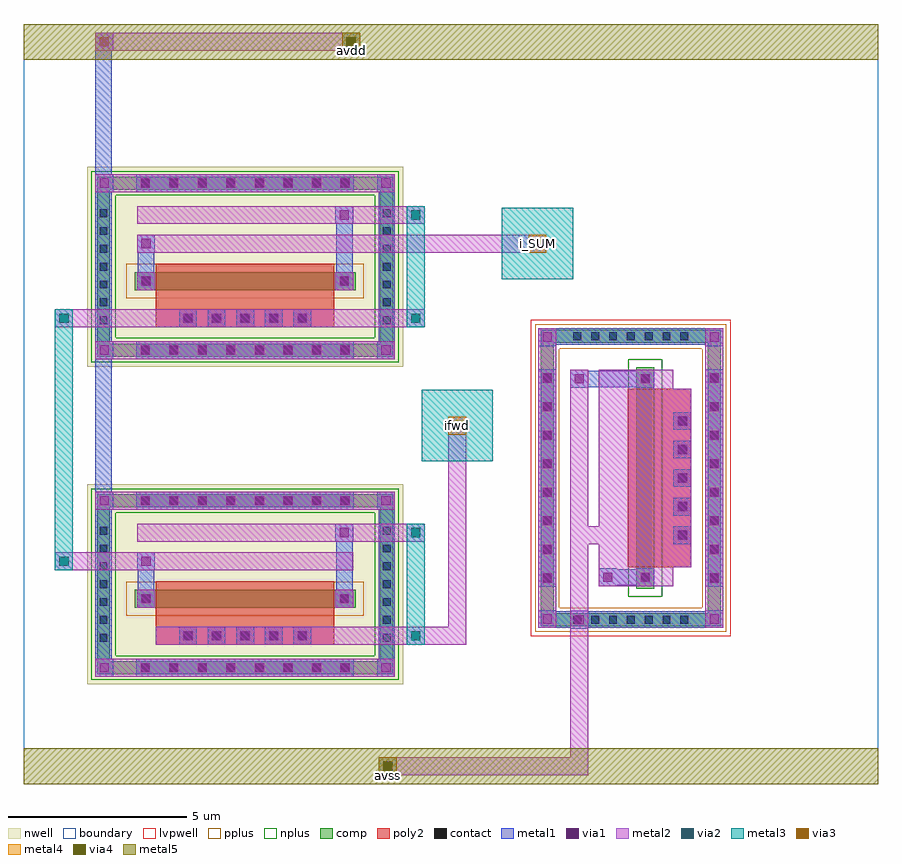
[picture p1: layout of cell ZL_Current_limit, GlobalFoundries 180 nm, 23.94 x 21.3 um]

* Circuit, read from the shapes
.subckt ZL_Current_limit avdd avss i_SUM ifwd
XM1 avss avss avss avss nfet_03v3 w=0.5u l=5u
XM2 ifwd ifwd n1 avdd pfet_03v3 w=0.5u l=5u
XM3 n1 n1 i_SUM avdd pfet_03v3 w=0.5u l=5u
.ends

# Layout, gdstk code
from math import pi, radians
import gdstk
lib = gdstk.Library(unit=1e-6, precision=1e-09)
def R(c, l, rs):  # rectangles x0, y0, x1, y1
    for r in rs: c.add(gdstk.rectangle(r[:2], r[2:], *l))
def A(c, l, x, y, w, h, nx, ny, dx, dy):  # array of equal rectangles
    R(c, l, [(x+i*dx, y+j*dy, x+i*dx+w, y+j*dy+h) for i in range(nx) for j in range(ny)])
def P(c, l, *ps):  # polygons
    for p in ps: c.add(gdstk.Polygon(p, *l))
boundary = (0, 0)
nwell = (21, 0)
comp = (22, 0)
poly2 = (30, 0)
pplus = (31, 0)
nplus = (32, 0)
contact = (33, 0)
metal1 = (34, 0)
via1 = (35, 0)
metal2 = (36, 0)
via2 = (38, 0)
via3 = (40, 0)
via4 = (41, 0)
metal3 = (42, 0)
metal4 = (46, 0)
metal5 = (81, 0)
lvpwell = (204, 0)

zl_compass_8f91b1b8_2 = lib.new_cell('ZL_compass_8f91b1b8$2')
R(zl_compass_8f91b1b8_2, metal5, [(-0.25,-0.25,0.25,0.25)])

zl_rectangle_8f91b1b8_1 = lib.new_cell('ZL_rectangle_8f91b1b8$1')
zl_rectangle_8f91b1b8_1.add(gdstk.Reference(zl_compass_8f91b1b8_2, (0.25,0.25)))

zl_compass_8f91b1b8_1 = lib.new_cell('ZL_compass_8f91b1b8$1')
R(zl_compass_8f91b1b8_1, metal5, [(-0.25,-0.25,0.25,0.25)])

zl_rectangle_8f91b1b8 = lib.new_cell('ZL_rectangle_8f91b1b8')
zl_rectangle_8f91b1b8.add(gdstk.Reference(zl_compass_8f91b1b8_1, (0.25,0.25)))

zl_straight_route_f73d6f = lib.new_cell('ZL_straight_route_f73d6fe0')
R(zl_straight_route_f73d6f, metal2, [(9.23,14.895,14.145,15.395)])

zl_compass_layer42__0_si = lib.new_cell('ZL_compass_layer42__0_size2__2$1$1')
R(zl_compass_layer42__0_si, metal3, [(-1,-1,1,1)])

zl_rectangle_layer42__0_ = lib.new_cell('ZL_rectangle_layer42__0_size2__2$1$1')
zl_rectangle_layer42__0_.add(gdstk.Reference(zl_compass_layer42__0_si, (1,1)))

c_zl_compass_layer42__0_si = lib.new_cell('ZL_compass_layer42__0_size2__2$9')
R(c_zl_compass_layer42__0_si, metal3, [(-1,-1,1,1)])

c_zl_rectangle_layer42__0_ = lib.new_cell('ZL_rectangle_layer42__0_size2__2$9')
c_zl_rectangle_layer42__0_.add(gdstk.Reference(c_zl_compass_layer42__0_si, (1,1)))

zl_l_route_64e08330 = lib.new_cell('ZL_L_route_64e08330')
R(zl_l_route_64e08330, metal2, [(3.75,-14.25,9.615,-13.75), (9.115,-14.25,9.615,-2.895)])

zl_l_route_0775ef16 = lib.new_cell('ZL_L_route_0775ef16')
R(zl_l_route_0775ef16, metal1, [(-4.2,2.16,-3.74,6.55), (-4.2,6.05,-3.7,6.55), (-4.2,6.05,-3.7,6.55)])
R(zl_l_route_0775ef16, via1, [(-4.08,6.17,-3.82,6.43)])
R(zl_l_route_0775ef16, metal2, [(-4.2,6.05,2.72,6.55), (-4.2,6.05,-3.7,6.55), (-4.2,6.05,-3.7,6.55)])

zl_via_stack_7fdd5994_1 = lib.new_cell('ZL_via_stack_7fdd5994$1')
R(zl_via_stack_7fdd5994_1, metal2, [(-0.25,-0.25,0.25,0.25)])
R(zl_via_stack_7fdd5994_1, via2, [(-0.13,-0.13,0.13,0.13)])
R(zl_via_stack_7fdd5994_1, via3, [(-0.13,-0.13,0.13,0.13)])
R(zl_via_stack_7fdd5994_1, via4, [(-0.13,-0.13,0.13,0.13)])
R(zl_via_stack_7fdd5994_1, metal3, [(-0.25,-0.25,0.25,0.25)])
R(zl_via_stack_7fdd5994_1, metal4, [(-0.25,-0.25,0.25,0.25)])
R(zl_via_stack_7fdd5994_1, metal5, [(-0.25,-0.25,0.25,0.25)])

zl_compass_211e5a5b_1 = lib.new_cell('ZL_compass_211e5a5b$1')
R(zl_compass_211e5a5b_1, metal5, [(-11.97,-0.5,11.97,0.5)])

zl_rectangle_211e5a5b_1 = lib.new_cell('ZL_rectangle_211e5a5b$1')
zl_rectangle_211e5a5b_1.add(gdstk.Reference(zl_compass_211e5a5b_1, (11.97,0.5)))

zl_compass_211e5a5b = lib.new_cell('ZL_compass_211e5a5b')
R(zl_compass_211e5a5b, metal5, [(-11.97,-0.5,11.97,0.5)])

zl_rectangle_211e5a5b = lib.new_cell('ZL_rectangle_211e5a5b')
zl_rectangle_211e5a5b.add(gdstk.Reference(zl_compass_211e5a5b, (11.97,0.5)))

zl_c_route_d216f0a1 = lib.new_cell('ZL_c_route_d216f0a1')
R(zl_c_route_d216f0a1, metal2, [(2.5,-10.595,5.03,-10.095), (4.53,-10.595,5.03,-10.095), (3.03,-7.705,5.03,-7.205), (4.53,-7.705,5.03,-7.205)])
R(zl_c_route_d216f0a1, via2, [(4.65,-10.475,4.91,-10.215), (4.65,-7.585,4.91,-7.325)])
R(zl_c_route_d216f0a1, metal3, [(4.53,-10.595,5.03,-10.095), (4.53,-10.595,5.03,-10.095), (4.53,-10.595,5.03,-7.205), (4.53,-7.705,5.03,-7.205), (4.53,-7.705,5.03,-7.205)])
P(zl_c_route_d216f0a1, metal3, [(5.03,-10.595),(5.03,-10.095),(5.03,-10.095),(5.03,-10.595)],
  [(5.03,-7.705),(5.03,-7.205),(5.03,-7.205),(5.03,-7.705)])

zl_straight_route_b6b944 = lib.new_cell('ZL_straight_route_b6b944db')
R(zl_straight_route_b6b944, metal1, [(9.115,-10.145,9.615,-9.645)])
R(zl_straight_route_b6b944, via1, [(9.235,-10.025,9.495,-9.765)])
R(zl_straight_route_b6b944, metal2, [(9.115,-10.145,9.615,-9.645), (9.115,-9.895,9.615,-2.895)])

zl_straight_route_946b62 = lib.new_cell('ZL_straight_route_946b62ad')
R(zl_straight_route_946b62, metal2, [(9.115,-7.775,12.505,-7.275)])

zl_straight_route_ecd455 = lib.new_cell('ZL_straight_route_ecd45504')
R(zl_straight_route_ecd455, metal2, [(10.415,-8.955,12.005,-2.895)])

zl_l_route_e9264af4 = lib.new_cell('ZL_L_route_e9264af4')
R(zl_l_route_e9264af4, metal2, [(2.5,-10.595,6.195,-10.095), (5.695,-10.595,6.195,-4.705)])

zl_c_route_4b6a6f06 = lib.new_cell('ZL_c_route_4b6a6f06')
R(zl_c_route_4b6a6f06, metal2, [(2.5,-1.695,5.03,-1.195), (4.53,-1.695,5.03,-1.195), (3.03,1.195,5.03,1.695), (4.53,1.195,5.03,1.695)])
R(zl_c_route_4b6a6f06, via2, [(4.65,-1.575,4.91,-1.315), (4.65,1.315,4.91,1.575)])
R(zl_c_route_4b6a6f06, metal3, [(4.53,-1.695,5.03,-1.195), (4.53,-1.695,5.03,-1.195), (4.53,-1.695,5.03,1.695), (4.53,1.195,5.03,1.695), (4.53,1.195,5.03,1.695)])
P(zl_c_route_4b6a6f06, metal3, [(5.03,-1.695),(5.03,-1.195),(5.03,-1.195),(5.03,-1.695)],
  [(5.03,1.195),(5.03,1.695),(5.03,1.695),(5.03,1.195)])

zl_c_route_bedf7dd0 = lib.new_cell('ZL_c_route_bedf7dd0')
R(zl_c_route_bedf7dd0, metal2, [(-5.33,-8.505,-3.03,-8.005), (-5.33,-8.505,-4.83,-8.005), (-5.33,-1.695,-4.83,-1.195), (-5.33,-1.695,-2.5,-1.195)])
R(zl_c_route_bedf7dd0, via2, [(-5.21,-8.385,-4.95,-8.125), (-5.21,-1.575,-4.95,-1.315)])
R(zl_c_route_bedf7dd0, metal3, [(-5.33,-8.505,-4.83,-8.005), (-5.33,-8.505,-4.83,-8.005), (-5.33,-8.505,-4.83,-1.195), (-5.33,-1.695,-4.83,-1.195), (-5.33,-1.695,-4.83,-1.195)])
P(zl_c_route_bedf7dd0, metal3, [(-4.83,-8.505),(-4.83,-8.005),(-4.83,-8.005),(-4.83,-8.505)],
  [(-4.83,-1.695),(-4.83,-1.195),(-4.83,-1.195),(-4.83,-1.695)])

zl_straight_route_b402ec = lib.new_cell('ZL_straight_route_b402ec04')
R(zl_straight_route_b402ec, metal1, [(-4.2,-6.74,-3.74,-2.16)])

zl_via_stack_d059dced = lib.new_cell('ZL_via_stack_d059dced')
R(zl_via_stack_d059dced, metal2, [(-0.25,-0.25,0.25,0.25)])
R(zl_via_stack_d059dced, via2, [(-0.13,-0.13,0.13,0.13)])
R(zl_via_stack_d059dced, via3, [(-0.13,-0.13,0.13,0.13)])
R(zl_via_stack_d059dced, metal3, [(-0.25,-0.25,0.25,0.25)])
R(zl_via_stack_d059dced, metal4, [(-0.25,-0.25,0.25,0.25)])

zl_m1_1 = lib.new_cell('ZL_M1$1')
A(zl_m1_1, comp, -2.98, -2.52, 0.36, 0.36, 8, 2, 0.8, 4.68)
A(zl_m1_1, comp, -4.15, -1.68, 0.36, 0.36, 1, 7, 0, 0.5)
A(zl_m1_1, comp, 3.79, -1.68, 0.36, 0.36, 1, 7, 0, 0.5)
R(zl_m1_1, comp, [(-2.98,-2.52,2.98,-2.16), (-4.15,-1.68,-3.79,1.68), (3.79,-1.68,4.15,1.68), (-3.1,-0.655,3.1,-0.155), (-2.98,2.16,2.98,2.52)])
P(zl_m1_1, comp, [(-4.15,-2.52),(-4.15,-2.16),(3.79,-2.16),(3.79,2.16),(-3.79,2.16),(-3.79,-2.16),(-4.15,-2.16),(-4.15,2.52),(4.15,2.52),(4.15,-2.52)])
A(zl_m1_1, poly2, -1.78, -1.625, 0.36, 0.36, 5, 1, 0.8, 0)
R(zl_m1_1, poly2, [(-2.5,-1.695,2.5,-1.195), (-2.5,-1.195,2.5,-0.895), (-2.5,-0.895,2.5,0.085)])
P(zl_m1_1, pplus, [(-4.31,-2.68),(-4.31,-2),(3.63,-2),(3.63,2),(-3.63,2),(-3.63,-2),(-4.31,-2),(-4.31,2.68),(4.31,2.68),(4.31,-2.68)])
R(zl_m1_1, nplus, [(-3.33,-0.885,3.33,0.075)])
A(zl_m1_1, contact, -2.91, -2.45, 0.22, 0.22, 8, 2, 0.8, 4.68)
A(zl_m1_1, contact, -4.08, -1.61, 0.22, 0.22, 1, 7, 0, 0.5)
A(zl_m1_1, contact, 3.86, -1.61, 0.22, 0.22, 1, 7, 0, 0.5)
A(zl_m1_1, contact, -1.71, -1.555, 0.22, 0.22, 5, 1, 0.8, 0)
R(zl_m1_1, contact, [(-2.89,-0.515,-2.67,-0.295), (2.67,-0.515,2.89,-0.295)])
A(zl_m1_1, metal1, -3.05, -2.59, 0.5, 0.5, 8, 2, 0.8, 4.68)
A(zl_m1_1, metal1, -4.2, -1.73, 0.46, 0.46, 1, 7, 0, 0.5)
A(zl_m1_1, metal1, 3.74, -1.73, 0.46, 0.46, 1, 7, 0, 0.5)
A(zl_m1_1, metal1, -1.85, -1.695, 0.5, 0.5, 5, 1, 0.8, 0)
R(zl_m1_1, metal1, [(-4.2,-2.59,-3.7,-2.09), (-4.2,-2.59,-3.7,-2.09), (-4.2,-2.59,-3.74,-2.16), (-3.05,-2.59,3.05,-2.09), (3.7,-2.59,4.2,-2.09), (3.7,-2.59,4.2,-2.09), (3.74,-2.59,4.2,-2.16), (-4.2,-2.16,-3.74,2.16), (3.74,-2.16,4.2,2.16), (-3.03,-0.655,-2.53,-0.155), (-3.03,-0.655,-2.53,-0.155), (-3.01,-0.655,-2.55,-0.155), (2.53,-0.655,3.03,-0.155), (2.53,-0.655,3.03,-0.155), (2.55,-0.655,3.01,-0.155), (-3.01,-0.635,-2.55,-0.175), (2.55,-0.635,3.01,-0.175), (-3.01,-0.155,-2.55,0.895), (2.55,-0.155,3.01,1.695), (-3.03,0.395,-2.53,0.895), (2.53,1.195,3.03,1.695), (-4.2,2.09,-3.7,2.59), (-4.2,2.09,-3.7,2.59), (-3.05,2.09,3.05,2.59), (3.7,2.09,4.2,2.59), (3.7,2.09,4.2,2.59), (-4.2,2.16,-3.74,2.59), (3.74,2.16,4.2,2.59)])
A(zl_m1_1, via1, -2.93, -2.47, 0.26, 0.26, 8, 2, 0.8, 4.68)
A(zl_m1_1, via1, -1.73, -1.575, 0.26, 0.26, 5, 1, 0.8, 0)
R(zl_m1_1, via1, [(-4.08,-2.47,-3.82,-2.21), (3.82,-2.47,4.08,-2.21), (-2.91,-0.535,-2.65,-0.275), (2.65,-0.535,2.91,-0.275), (-2.91,0.515,-2.65,0.775), (2.65,1.315,2.91,1.575), (-4.08,2.21,-3.82,2.47), (3.82,2.21,4.08,2.47)])
A(zl_m1_1, metal2, -3.05, -2.59, 0.5, 0.5, 8, 2, 0.8, 4.68)
A(zl_m1_1, metal2, -1.85, -1.695, 0.5, 0.5, 5, 1, 0.8, 0)
R(zl_m1_1, metal2, [(-4.2,-2.59,-3.7,-2.09), (-4.2,-2.59,-3.7,-2.09), (-4.2,-2.59,-3.79,-2.09), (-3.79,-2.59,3.79,-2.09), (3.7,-2.59,4.2,-2.09), (3.7,-2.59,4.2,-2.09), (3.79,-2.59,4.2,-2.09), (-2.5,-1.695,2.5,-1.195), (-3.03,-0.655,-2.53,-0.155), (-3.03,-0.655,-2.53,-0.155), (2.53,-0.655,3.03,-0.155), (2.53,-0.655,3.03,-0.155), (-3.03,0.395,-2.53,0.895), (-3.03,0.395,3.03,0.895), (-3.03,1.195,3.03,1.695), (2.53,1.195,3.03,1.695), (-4.2,2.09,-3.7,2.59), (-4.2,2.09,-3.7,2.59), (-4.2,2.09,-3.79,2.59), (-3.79,2.09,3.79,2.59), (3.7,2.09,4.2,2.59), (3.7,2.09,4.2,2.59), (3.79,2.09,4.2,2.59)])
R(zl_m1_1, lvpwell, [(-4.43,-2.8,4.43,2.8)])

zl_m1 = lib.new_cell('ZL_M1')
R(zl_m1, nwell, [(-4.43,-2.8,4.43,2.8), (-4.27,-2.64,4.27,2.64)])
A(zl_m1, comp, -2.98, -2.52, 0.36, 0.36, 8, 2, 0.8, 4.68)
A(zl_m1, comp, -4.15, -1.68, 0.36, 0.36, 1, 7, 0, 0.5)
A(zl_m1, comp, 3.79, -1.68, 0.36, 0.36, 1, 7, 0, 0.5)
R(zl_m1, comp, [(-2.98,-2.52,2.98,-2.16), (-4.15,-1.68,-3.79,1.68), (3.79,-1.68,4.15,1.68), (-3.1,-0.655,3.1,-0.155), (-2.98,2.16,2.98,2.52)])
P(zl_m1, comp, [(-4.15,-2.52),(-4.15,-2.16),(3.79,-2.16),(3.79,2.16),(-3.79,2.16),(-3.79,-2.16),(-4.15,-2.16),(-4.15,2.52),(4.15,2.52),(4.15,-2.52)])
A(zl_m1, poly2, -1.78, -1.625, 0.36, 0.36, 5, 1, 0.8, 0)
R(zl_m1, poly2, [(-2.5,-1.695,2.5,-1.195), (-2.5,-1.195,2.5,-0.895), (-2.5,-0.895,2.5,0.085)])
R(zl_m1, pplus, [(-3.33,-0.885,3.33,0.075)])
P(zl_m1, nplus, [(-4.31,-2.68),(-4.31,-2),(3.63,-2),(3.63,2),(-3.63,2),(-3.63,-2),(-4.31,-2),(-4.31,2.68),(4.31,2.68),(4.31,-2.68)])
A(zl_m1, contact, -2.91, -2.45, 0.22, 0.22, 8, 2, 0.8, 4.68)
A(zl_m1, contact, -4.08, -1.61, 0.22, 0.22, 1, 7, 0, 0.5)
A(zl_m1, contact, 3.86, -1.61, 0.22, 0.22, 1, 7, 0, 0.5)
A(zl_m1, contact, -1.71, -1.555, 0.22, 0.22, 5, 1, 0.8, 0)
R(zl_m1, contact, [(-2.89,-0.515,-2.67,-0.295), (2.67,-0.515,2.89,-0.295)])
A(zl_m1, metal1, -3.05, -2.59, 0.5, 0.5, 8, 2, 0.8, 4.68)
A(zl_m1, metal1, -4.2, -1.73, 0.46, 0.46, 1, 7, 0, 0.5)
A(zl_m1, metal1, 3.74, -1.73, 0.46, 0.46, 1, 7, 0, 0.5)
A(zl_m1, metal1, -1.85, -1.695, 0.5, 0.5, 5, 1, 0.8, 0)
R(zl_m1, metal1, [(-4.2,-2.59,-3.7,-2.09), (-4.2,-2.59,-3.7,-2.09), (-4.2,-2.59,-3.74,-2.16), (-3.05,-2.59,3.05,-2.09), (3.7,-2.59,4.2,-2.09), (3.7,-2.59,4.2,-2.09), (3.74,-2.59,4.2,-2.16), (-4.2,-2.16,-3.74,2.16), (3.74,-2.16,4.2,2.16), (-3.03,-0.655,-2.53,-0.155), (-3.03,-0.655,-2.53,-0.155), (-3.01,-0.655,-2.55,-0.155), (2.53,-0.655,3.03,-0.155), (2.53,-0.655,3.03,-0.155), (2.55,-0.655,3.01,-0.155), (-3.01,-0.635,-2.55,-0.175), (2.55,-0.635,3.01,-0.175), (-3.01,-0.155,-2.55,0.895), (2.55,-0.155,3.01,1.695), (-3.03,0.395,-2.53,0.895), (2.53,1.195,3.03,1.695), (-4.2,2.09,-3.7,2.59), (-4.2,2.09,-3.7,2.59), (-3.05,2.09,3.05,2.59), (3.7,2.09,4.2,2.59), (3.7,2.09,4.2,2.59), (-4.2,2.16,-3.74,2.59), (3.74,2.16,4.2,2.59)])
A(zl_m1, via1, -2.93, -2.47, 0.26, 0.26, 8, 2, 0.8, 4.68)
A(zl_m1, via1, -1.73, -1.575, 0.26, 0.26, 5, 1, 0.8, 0)
R(zl_m1, via1, [(-4.08,-2.47,-3.82,-2.21), (3.82,-2.47,4.08,-2.21), (-2.91,-0.535,-2.65,-0.275), (2.65,-0.535,2.91,-0.275), (-2.91,0.515,-2.65,0.775), (2.65,1.315,2.91,1.575), (-4.08,2.21,-3.82,2.47), (3.82,2.21,4.08,2.47)])
A(zl_m1, metal2, -3.05, -2.59, 0.5, 0.5, 8, 2, 0.8, 4.68)
A(zl_m1, metal2, -1.85, -1.695, 0.5, 0.5, 5, 1, 0.8, 0)
R(zl_m1, metal2, [(-4.2,-2.59,-3.7,-2.09), (-4.2,-2.59,-3.7,-2.09), (-4.2,-2.59,-3.79,-2.09), (-3.79,-2.59,3.79,-2.09), (3.7,-2.59,4.2,-2.09), (3.7,-2.59,4.2,-2.09), (3.79,-2.59,4.2,-2.09), (-2.5,-1.695,2.5,-1.195), (-3.03,-0.655,-2.53,-0.155), (-3.03,-0.655,-2.53,-0.155), (2.53,-0.655,3.03,-0.155), (2.53,-0.655,3.03,-0.155), (-3.03,0.395,-2.53,0.895), (-3.03,0.395,3.03,0.895), (-3.03,1.195,3.03,1.695), (2.53,1.195,3.03,1.695), (-4.2,2.09,-3.7,2.59), (-4.2,2.09,-3.7,2.59), (-4.2,2.09,-3.79,2.59), (-3.79,2.09,3.79,2.59), (3.7,2.09,4.2,2.59), (3.7,2.09,4.2,2.59), (3.79,2.09,4.2,2.59)])

zl_m0 = lib.new_cell('ZL_M0')
R(zl_m0, nwell, [(-4.43,-2.8,4.43,2.8), (-4.27,-2.64,4.27,2.64)])
A(zl_m0, comp, -2.98, -2.52, 0.36, 0.36, 8, 2, 0.8, 4.68)
A(zl_m0, comp, -4.15, -1.68, 0.36, 0.36, 1, 7, 0, 0.5)
A(zl_m0, comp, 3.79, -1.68, 0.36, 0.36, 1, 7, 0, 0.5)
R(zl_m0, comp, [(-2.98,-2.52,2.98,-2.16), (-4.15,-1.68,-3.79,1.68), (3.79,-1.68,4.15,1.68), (-3.1,-0.655,3.1,-0.155), (-2.98,2.16,2.98,2.52)])
P(zl_m0, comp, [(-4.15,-2.52),(-4.15,-2.16),(3.79,-2.16),(3.79,2.16),(-3.79,2.16),(-3.79,-2.16),(-4.15,-2.16),(-4.15,2.52),(4.15,2.52),(4.15,-2.52)])
A(zl_m0, poly2, -1.78, -1.625, 0.36, 0.36, 5, 1, 0.8, 0)
R(zl_m0, poly2, [(-2.5,-1.695,2.5,-1.195), (-2.5,-1.195,2.5,-0.895), (-2.5,-0.895,2.5,0.085)])
R(zl_m0, pplus, [(-3.33,-0.885,3.33,0.075)])
P(zl_m0, nplus, [(-4.31,-2.68),(-4.31,-2),(3.63,-2),(3.63,2),(-3.63,2),(-3.63,-2),(-4.31,-2),(-4.31,2.68),(4.31,2.68),(4.31,-2.68)])
A(zl_m0, contact, -2.91, -2.45, 0.22, 0.22, 8, 2, 0.8, 4.68)
A(zl_m0, contact, -4.08, -1.61, 0.22, 0.22, 1, 7, 0, 0.5)
A(zl_m0, contact, 3.86, -1.61, 0.22, 0.22, 1, 7, 0, 0.5)
A(zl_m0, contact, -1.71, -1.555, 0.22, 0.22, 5, 1, 0.8, 0)
R(zl_m0, contact, [(-2.89,-0.515,-2.67,-0.295), (2.67,-0.515,2.89,-0.295)])
A(zl_m0, metal1, -3.05, -2.59, 0.5, 0.5, 8, 2, 0.8, 4.68)
A(zl_m0, metal1, -4.2, -1.73, 0.46, 0.46, 1, 7, 0, 0.5)
A(zl_m0, metal1, 3.74, -1.73, 0.46, 0.46, 1, 7, 0, 0.5)
A(zl_m0, metal1, -1.85, -1.695, 0.5, 0.5, 5, 1, 0.8, 0)
R(zl_m0, metal1, [(-4.2,-2.59,-3.7,-2.09), (-4.2,-2.59,-3.7,-2.09), (-4.2,-2.59,-3.74,-2.16), (-3.05,-2.59,3.05,-2.09), (3.7,-2.59,4.2,-2.09), (3.7,-2.59,4.2,-2.09), (3.74,-2.59,4.2,-2.16), (-4.2,-2.16,-3.74,2.16), (3.74,-2.16,4.2,2.16), (-3.03,-0.655,-2.53,-0.155), (-3.03,-0.655,-2.53,-0.155), (-3.01,-0.655,-2.55,-0.155), (2.53,-0.655,3.03,-0.155), (2.53,-0.655,3.03,-0.155), (2.55,-0.655,3.01,-0.155), (-3.01,-0.635,-2.55,-0.175), (2.55,-0.635,3.01,-0.175), (-3.01,-0.155,-2.55,0.895), (2.55,-0.155,3.01,1.695), (-3.03,0.395,-2.53,0.895), (2.53,1.195,3.03,1.695), (-4.2,2.09,-3.7,2.59), (-4.2,2.09,-3.7,2.59), (-3.05,2.09,3.05,2.59), (3.7,2.09,4.2,2.59), (3.7,2.09,4.2,2.59), (-4.2,2.16,-3.74,2.59), (3.74,2.16,4.2,2.59)])
A(zl_m0, via1, -2.93, -2.47, 0.26, 0.26, 8, 2, 0.8, 4.68)
A(zl_m0, via1, -1.73, -1.575, 0.26, 0.26, 5, 1, 0.8, 0)
R(zl_m0, via1, [(-4.08,-2.47,-3.82,-2.21), (3.82,-2.47,4.08,-2.21), (-2.91,-0.535,-2.65,-0.275), (2.65,-0.535,2.91,-0.275), (-2.91,0.515,-2.65,0.775), (2.65,1.315,2.91,1.575), (-4.08,2.21,-3.82,2.47), (3.82,2.21,4.08,2.47)])
A(zl_m0, metal2, -3.05, -2.59, 0.5, 0.5, 8, 2, 0.8, 4.68)
A(zl_m0, metal2, -1.85, -1.695, 0.5, 0.5, 5, 1, 0.8, 0)
R(zl_m0, metal2, [(-4.2,-2.59,-3.7,-2.09), (-4.2,-2.59,-3.7,-2.09), (-4.2,-2.59,-3.79,-2.09), (-3.79,-2.59,3.79,-2.09), (3.7,-2.59,4.2,-2.09), (3.7,-2.59,4.2,-2.09), (3.79,-2.59,4.2,-2.09), (-2.5,-1.695,2.5,-1.195), (-3.03,-0.655,-2.53,-0.155), (-3.03,-0.655,-2.53,-0.155), (2.53,-0.655,3.03,-0.155), (2.53,-0.655,3.03,-0.155), (-3.03,0.395,-2.53,0.895), (-3.03,0.395,3.03,0.895), (-3.03,1.195,3.03,1.695), (2.53,1.195,3.03,1.695), (-4.2,2.09,-3.7,2.59), (-4.2,2.09,-3.7,2.59), (-4.2,2.09,-3.79,2.59), (-3.79,2.09,3.79,2.59), (3.7,2.09,4.2,2.59), (3.7,2.09,4.2,2.59), (3.79,2.09,4.2,2.59)])

zl_current_limit = lib.new_cell('ZL_Current_limit')
R(zl_current_limit, boundary, [(0,0,23.94,21.3)])
zl_current_limit.add(gdstk.Reference(zl_rectangle_8f91b1b8_1, (10.2,0.25)))
zl_current_limit.add(gdstk.Reference(zl_rectangle_8f91b1b8, (9.17,20.55)))
zl_current_limit.add(gdstk.Reference(zl_straight_route_f73d6f, (0,0)))
zl_current_limit.add(gdstk.Reference(zl_rectangle_layer42__0_, (11.145,9.045)))
zl_current_limit.add(gdstk.Reference(c_zl_rectangle_layer42__0_, (13.395,14.145)))
zl_current_limit.add(gdstk.Reference(zl_l_route_64e08330, (6.2,14.5)))
zl_current_limit.add(gdstk.Reference(zl_l_route_0775ef16, (6.2,14.5)))
zl_current_limit.add(gdstk.Reference(zl_via_stack_7fdd5994_1, (10.2,0.5)))
zl_current_limit.add(gdstk.Reference(zl_via_stack_7fdd5994_1, (9.17,20.8)))
zl_current_limit.add(gdstk.Reference(zl_rectangle_211e5a5b_1, (0,0)))
zl_current_limit.add(gdstk.Reference(zl_rectangle_211e5a5b, (0,20.3)))
zl_current_limit.add(gdstk.Reference(zl_c_route_d216f0a1, (6.2,14.5)))
zl_current_limit.add(gdstk.Reference(zl_straight_route_b6b944, (6.2,14.5)))
zl_current_limit.add(gdstk.Reference(zl_straight_route_946b62, (6.2,14.5)))
zl_current_limit.add(gdstk.Reference(zl_straight_route_ecd455, (6.2,14.5)))
zl_current_limit.add(gdstk.Reference(zl_l_route_e9264af4, (6.2,14.5)))
zl_current_limit.add(gdstk.Reference(zl_c_route_4b6a6f06, (6.2,14.5)))
zl_current_limit.add(gdstk.Reference(zl_c_route_bedf7dd0, (6.2,14.5)))
zl_current_limit.add(gdstk.Reference(zl_straight_route_b402ec, (6.2,14.5)))
zl_current_limit.add(gdstk.Reference(zl_via_stack_d059dced, (12.145,10.045)))
zl_current_limit.add(gdstk.Reference(zl_via_stack_d059dced, (14.395,15.145)))
zl_current_limit.add(gdstk.Reference(zl_m1_1, (17.01,8.575), rotation=pi/2))
zl_current_limit.add(gdstk.Reference(zl_m1, (6.2,5.6)))
zl_current_limit.add(gdstk.Reference(zl_m0, (6.2,14.5)))
zl_current_limit.add(gdstk.Label('i_SUM', (14.395,15.145), layer=46, texttype=10))
zl_current_limit.add(gdstk.Label('ifwd', (12.145,10.045), layer=46, texttype=10))
zl_current_limit.add(gdstk.Label('avdd', (9.17,20.55), layer=81, texttype=10))
zl_current_limit.add(gdstk.Label('avss', (10.2,0.25), layer=81, texttype=10))

lib.write_gds('ZL_Current_limit.gds')
